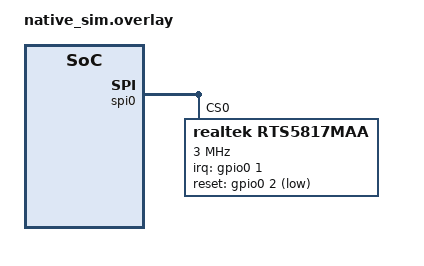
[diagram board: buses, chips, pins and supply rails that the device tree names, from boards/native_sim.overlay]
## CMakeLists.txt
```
# Copyright 2026 The ChromiumOS Authors
# Use of this source code is governed by a BSD-style license that can be
# found in the LICENSE file.

cmake_minimum_required(VERSION 3.13.1)
find_package(Zephyr REQUIRED HINTS "${ZEPHYR_BASE}")
project(rts5817maa_pal_test)

FILE(GLOB app_sources src/*.c)
target_sources(app PRIVATE ${app_sources})

# Add fingerprint drivers directory to include fingerprint_rts5817maa_pal.h
target_include_directories(app PUBLIC ${PLATFORM_EC}/zephyr/drivers/fingerprint)
```

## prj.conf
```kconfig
# Copyright 2026 The ChromiumOS Authors
# Use of this source code is governed by a BSD-style license that can be
# found in the LICENSE file.

CONFIG_ZTEST=y
CONFIG_ZTEST_FATAL_HOOK=y
CONFIG_EMUL=y
CONFIG_GPIO=y
CONFIG_SPI=y
CONFIG_PM_DEVICE=n
CONFIG_FINGERPRINT_SENSOR=y
CONFIG_FINGERPRINT_SENSOR_RTS5817MAA=y
CONFIG_FINGERPRINT_SENSOR_RTS5817MAA_PAL=y
CONFIG_APPLICATION_DEFINED_SYSCALL=y
CONFIG_UART_NATIVE_PTY_0_ON_STDINOUT=y
```

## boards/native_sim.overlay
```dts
/* Copyright 2026 The ChromiumOS Authors
 * Use of this source code is governed by a BSD-style license that can be
 * found in the LICENSE file.
 */

#define RTS5817MAA_TEST_IMAGE_PROPS \
	width = <80>; \
	height = <64>; \
	bits-per-pixel = <8>; \
	frame-size = <5120>; \
	image-data-offset-bytes = <0>; \
	v4l2-pixel-format = "V4L2_PIX_FMT_GREY";

/ {
	chosen {
		cros-fp,fingerprint-sensor = &rts5817maa;
	};
};

&spi0 {
	rts5817maa: rts5817maa@0 {
		compatible = "realtek,rts5817maa";
		reg = <0>;
		spi-max-frequency = <3000000>;

		configs {
			compatible = "fingerprint-image-frame-params";
			config0 {
				RTS5817MAA_TEST_IMAGE_PROPS
				capture-type = "FINGERPRINT_CAPTURE_TYPE_SIMPLE_IMAGE";
			};
			config1 {
				RTS5817MAA_TEST_IMAGE_PROPS
				capture-type = "FINGERPRINT_CAPTURE_TYPE_PATTERN0";
			};
			config2 {
				RTS5817MAA_TEST_IMAGE_PROPS
				capture-type = "FINGERPRINT_CAPTURE_TYPE_PATTERN1";
			};
			config3 {
				RTS5817MAA_TEST_IMAGE_PROPS
				capture-type = "FINGERPRINT_CAPTURE_TYPE_DEFECT_PXL_TEST";
			};
			config4 {
				RTS5817MAA_TEST_IMAGE_PROPS
				capture-type = "FINGERPRINT_CAPTURE_TYPE_ABNORMAL_TEST";
			};
			config5 {
				RTS5817MAA_TEST_IMAGE_PROPS
				capture-type = "FINGERPRINT_CAPTURE_TYPE_NOISE_TEST";
			};
			config6 {
				RTS5817MAA_TEST_IMAGE_PROPS
				capture-type = "FINGERPRINT_CAPTURE_TYPE_QUALITY_TEST";
			};
			config7 {
				RTS5817MAA_TEST_IMAGE_PROPS
				capture-type = "FINGERPRINT_CAPTURE_TYPE_VENDOR_FORMAT";
			};
		};

		irq-gpios = <&gpio0 1 GPIO_ACTIVE_HIGH>;
		reset-gpios = <&gpio0 2 GPIO_ACTIVE_LOW>;
	};
};
```

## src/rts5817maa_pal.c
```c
/* Copyright 2026 The ChromiumOS Authors
 * Use of this source code is governed by a BSD-style license that can be
 * found in the LICENSE file.
 */

#include <errno.h>
#include <string.h>

#include <zephyr/device.h>
#include <zephyr/devicetree.h>
#include <zephyr/drivers/emul.h>
#include <zephyr/drivers/gpio.h>
#include <zephyr/drivers/gpio/gpio_emul.h>
#include <zephyr/drivers/spi.h>
#include <zephyr/drivers/spi_emul.h>
#include <zephyr/ztest.h>
#include <zephyr/ztest_error_hook.h>

#include <fingerprint_rts5817maa.h>
#include <fingerprint_rts5817maa_pal.h>

#define RTS5817MAA_NODE DT_NODELABEL(rts5817maa)

#define PAL_TEST_HEAP_SIZE CONFIG_FINGERPRINT_SENSOR_RTS5817MAA_HEAP_SIZE

static const struct rts5817maa_cfg pal_test_cfg = {
	.spi = SPI_DT_SPEC_GET(RTS5817MAA_NODE,
			       SPI_OP_MODE_MASTER | SPI_WORD_SET(8), 0),
	.interrupt = GPIO_DT_SPEC_GET(RTS5817MAA_NODE, irq_gpios),
	.reset_pin = GPIO_DT_SPEC_GET(RTS5817MAA_NODE, reset_gpios),
};

DEVICE_DT_DEFINE(RTS5817MAA_NODE, NULL, NULL, NULL, &pal_test_cfg, POST_KERNEL,
		 CONFIG_FINGERPRINT_SENSOR_INIT_PRIORITY, NULL);

/* State of the minimal SPI peripheral emulator. */
static uint8_t emul_last_tx[16];
static size_t emul_last_len;
static int emul_io_ret;

static int pal_emul_io(const struct emul *target, const struct spi_config *config,
		       const struct spi_buf_set *tx_bufs,
		       const struct spi_buf_set *rx_bufs)
{
	ARG_UNUSED(target);
	ARG_UNUSED(config);

	if (emul_io_ret != 0) {
		return emul_io_ret;
	}

	zassert_true(tx_bufs->buffers[0].len <= sizeof(emul_last_tx),
		     "TX length exceeds emulator buffer");
	zassert_equal(tx_bufs->buffers[0].len, rx_bufs->buffers[0].len,
		      "TX and RX lengths must match");
	emul_last_len = tx_bufs->buffers[0].len;
	memcpy(emul_last_tx, tx_bufs->buffers[0].buf, emul_last_len);

	/* The peripheral answers with the bitwise inverse of every byte. */
	for (size_t i = 0; i < rx_bufs->buffers[0].len; i++) {
		((uint8_t *)rx_bufs->buffers[0].buf)[i] =
			~emul_last_tx[i];
	}

	return 0;
}

static const struct spi_emul_api pal_emul_api = {
	.io = pal_emul_io,
};

static int pal_emul_init(const struct emul *target, const struct device *parent)
{
	ARG_UNUSED(target);
	ARG_UNUSED(parent);

	return 0;
}

EMUL_DT_DEFINE(RTS5817MAA_NODE, pal_emul_init, NULL, NULL, &pal_emul_api, NULL);

static void rts5817maa_pal_before(void *fixture)
{
	ARG_UNUSED(fixture);

	memset(emul_last_tx, 0, sizeof(emul_last_tx));
	emul_last_len = 0;
	emul_io_ret = 0;
}

ZTEST_SUITE(rts5817maa_pal, NULL, NULL, rts5817maa_pal_before, NULL, NULL);

ZTEST(rts5817maa_pal, test_spi_xfer_full_duplex)
{
	const uint8_t expected_tx[] = { 0x01, 0x02, 0xA5 };
	const uint8_t expected_rx[] = { (uint8_t)~0x01, (uint8_t)~0x02,
					(uint8_t)~0xA5 };
	uint8_t data[] = { 0x01, 0x02, 0xA5 };

	zassert_ok(rts5817_spi_xfer(data, sizeof(data)));

	zassert_equal(emul_last_len, sizeof(data));
	zassert_mem_equal(emul_last_tx, expected_tx, sizeof(expected_tx));
	/* The same buffer is used for TX and RX. */
	zassert_mem_equal(data, expected_rx, sizeof(expected_rx));
}

ZTEST(rts5817maa_pal, test_spi_xfer_null_data)
{
	zassert_equal(rts5817_spi_xfer(NULL, 4), -EINVAL);
	zassert_equal(emul_last_len, 0);
}

ZTEST(rts5817maa_pal, test_spi_xfer_bus_error)
{
	uint8_t data[] = { 0x01 };

	emul_io_ret = -EIO;
	zassert_equal(rts5817_spi_xfer(data, sizeof(data)), -EIO);
}

ZTEST(rts5817maa_pal, test_set_reset_pin)
{
	const struct gpio_dt_spec reset_pin =
		GPIO_DT_SPEC_GET(RTS5817MAA_NODE, reset_gpios);

	zassert_true(gpio_is_ready_dt(&reset_pin));
	zassert_ok(gpio_pin_configure_dt(&reset_pin, GPIO_OUTPUT_INACTIVE));

	/* The reset pin is active low, so the raw output goes low. */
	rts5817_set_reset_pin(true);
	zassert_equal(gpio_emul_output_get(reset_pin.port, reset_pin.pin), 0);

	rts5817_set_reset_pin(false);
	zassert_equal(gpio_emul_output_get(reset_pin.port, reset_pin.pin), 1);
}

ZTEST(rts5817maa_pal, test_get_time)
{
	uint64_t before = k_uptime_get();
	uint64_t pal_time = rts5817_get_time();
	uint64_t after = k_uptime_get();

	zassert_true(pal_time >= before);
	zassert_true(pal_time <= after);
}

ZTEST(rts5817maa_pal, test_busy_wait)
{
	const uint32_t wait_us = 1000;
	uint32_t start = k_cycle_get_32();
	uint32_t elapsed_us;

	rts5817_busy_wait(wait_us);
	elapsed_us = k_cyc_to_us_near32(k_cycle_get_32() - start);

	zassert_true(elapsed_us >= wait_us, "busy wait took only %u us",
		     elapsed_us);
}

ZTEST(rts5817maa_pal, test_malloc_free)
{
	const size_t alloc_size = 64;
	uint8_t *p = rts5817_malloc(alloc_size);

	zassert_not_null(p);
	zassert_equal((uintptr_t)p % RTS5817MAA_MEM_ALIGNMENT, 0);

	memset(p, 0xA5, alloc_size);
	rts5817_free(p);
}

ZTEST(rts5817maa_pal, test_free_null)
{
	rts5817_free(NULL);
}

ZTEST(rts5817maa_pal, test_malloc_reuses_freed_memory)
{
	/*
	 * Allocating nearly the whole heap only works if the previous
	 * allocation was returned to the heap.
	 */
	size_t big = PAL_TEST_HEAP_SIZE / 2;
	void *first = rts5817_malloc(big);

	zassert_not_null(first);
	rts5817_free(first);

	void *second = rts5817_malloc(big);

	zassert_not_null(second);
	rts5817_free(second);
}

ZTEST(rts5817maa_pal, test_malloc_exhausted_panics)
{
	ztest_set_fault_valid(true);

	rts5817_malloc(PAL_TEST_HEAP_SIZE + 1);

	zassert_unreachable("rts5817_malloc did not trigger k_oops()");
}

ZTEST(rts5817maa_pal, test_debug_log)
{
	rts5817_debug_log(NULL);
	rts5817_debug_log("pal test log %d", 42);
}
```
